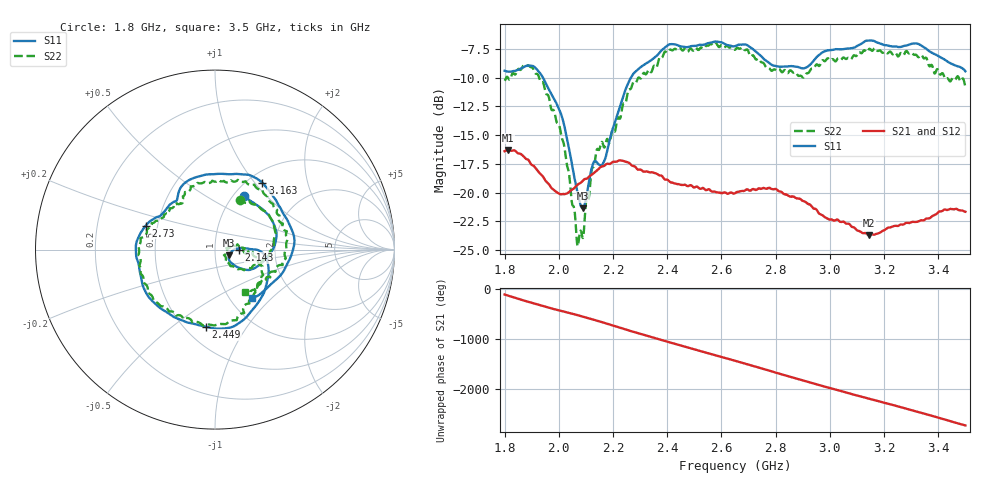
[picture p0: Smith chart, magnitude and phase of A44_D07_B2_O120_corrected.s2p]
! Created with skrf 1.9.0 (http://scikit-rf.org).
# Hz S RI R 50.0
!freq ReS11 ImS11 ReS21 ImS21 ReS12 ImS12 ReS22 ImS22
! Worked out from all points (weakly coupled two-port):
!   1601 points, 1.8 GHz to 3.5 GHz, reference 50 ohm
!   highest |S21| = -16.29 dB at 1.812 GHz (marker M1); lowest = -23.7 dB at 3.143 GHz (marker M2)
!   lowest |S11| = -21.4 dB at 2.088 GHz (marker M3), VSWR 1.19, Z = 58.5 - j3.69 ohm
!   |S11| at or under -10 dB: 1.942 GHz to 2.266 GHz (324.2 MHz wide, 15.4 % of centre)
!   |S22| runs from -24.7 to -7.0 dB; largest |S21 - S12| = 0.0028
!   S11 on the Smith chart (normalised r, x): 1.8 GHz: 1.12, +0.75; 2.143 GHz: 1.31, -0.00; 2.449 GHz: 0.63, -0.67; 2.73 GHz: 0.43, +0.14; 3.163 GHz: 1.16, +1.10; 3.5 GHz: 1.26, -0.76
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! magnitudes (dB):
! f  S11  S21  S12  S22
! 1.8 GHz  -9.4  -16.4  -16.4  -10.3
! 1.812 GHz  -9.5  -16.3  -16.3  -10.0
! 1.882 GHz  -9.0  -17.1  -17.1  -8.9
! 1.942 GHz  -10.0  -18.6  -18.6  -10.5
! 2.013 GHz  -13.5  -20.1  -20.1  -15.4
! 2.067 GHz  -19.8  -19.4  -19.4  -24.3
! 2.084 GHz  -21.3  -19.1  -19.1  -23.5
! 2.088 GHz  -21.4  -19.0  -19.0  -24.0
! 2.124 GHz  -17.6  -18.4  -18.4  -17.8
! 2.143 GHz  -17.5  -18.0  -18.0  -16.2
! 2.169 GHz  -17.2  -17.6  -17.7  -16.1
! 2.266 GHz  -10.0  -17.6  -17.6  -10.9
! 2.367 GHz  -7.9  -18.5  -18.4  -8.5
! 2.449 GHz  -7.3  -19.3  -19.3  -7.4
! 2.65 GHz  -7.3  -20.1  -20.0  -7.6
! 2.73 GHz  -7.8  -19.8  -19.8  -8.4
! 2.934 GHz  -8.7  -21.2  -21.2  -9.2
! 3.143 GHz  -6.8  -23.7  -23.6  -7.6
! 3.163 GHz  -6.8  -23.7  -23.6  -7.5
! 3.217 GHz  -7.2  -23.0  -23.0  -7.8
! 3.324 GHz  -7.0  -22.5  -22.5  -8.2
! 3.5 GHz  -9.4  -21.7  -21.6  -10.8
